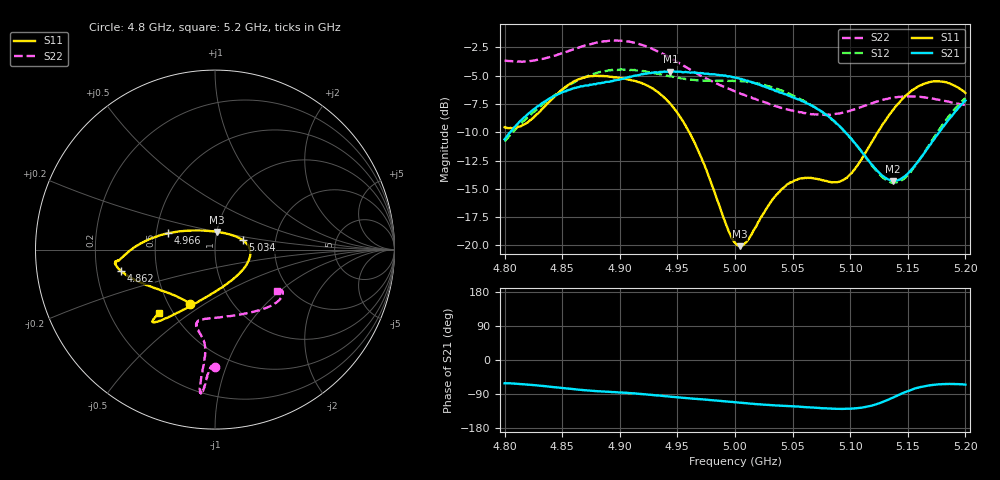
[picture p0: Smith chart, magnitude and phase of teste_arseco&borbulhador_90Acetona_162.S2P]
! Network Analyzer HP8722D
! Hewlett-Packard
! Data name: Linha & Wilkinson
! Saver's name: Rodrigo Anjos
! Comments: Teste da utilização de aquisição
! continua pelo VNA HP8722D
! Time and date: 17/4/2025 12:24
!  Frequency  S11  S21  S12  S22
# HZ  S  MA R 50
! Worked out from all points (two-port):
!   401 points, 4.8 GHz to 5.2 GHz, reference 50 ohm
!   highest |S21| = -4.63 dB at 4.944 GHz (marker M1); lowest = -14.3 dB at 5.137 GHz (marker M2)
!   |S21| within 3 dB of the highest: 4.83 GHz to 5.066 GHz (236.2 MHz wide, 4.77 % of centre); 5.195917 GHz to end of sweep
!   lowest |S11| = -20.1 dB at 5.004 GHz (marker M3), VSWR 1.22, Z = 50.2 + j9.98 ohm
!   |S11| at or under -10 dB: 4.96 GHz to 5.124 GHz (163.7 MHz wide, 3.25 % of centre)
!   |S22| runs from -8.5 to -1.9 dB; largest |S21 - S12| = 0.88
!   S11 on the Smith chart (normalised r, x): 4.8 GHz: 0.64, -0.44; 4.862 GHz: 0.31, -0.10; 4.966 GHz: 0.58, +0.11; 5.034 GHz: 1.35, +0.15; 5.2 GHz: 0.42, -0.38
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4.8e9  0.3329 -114.4  0.2942 -61.3  0.2878 -175.5  0.6565 -90.1
4.819e9  0.3475 -134.5  0.3754 -64.5  0.363 -174.2  0.6513 -91.7
4.862e9  0.5357 -167.0  0.4972 -77.7  0.5326 -177.5  0.7436 -94.1
4.867e9  0.5484 -168.9  0.5046 -79.3  0.5475 -178.4  0.7581 -94.3
4.902e9  0.5479 -173.5  0.545 -86.0  0.5995 174.5  0.803 -95.8
4.934e9  0.4721 -179.6  0.5833 -94.0  0.5739 171.4  0.7144 -96.2
4.944e9  0.4222 175.9  0.5868 -96.8  0.5581 171.6  0.6736 -95.9
4.966e9  0.2769 160.8  0.5792 -102.4  0.5378 173.5  0.5793 -95.3
4.993e9  0.1208 119.2  0.5595 -109.5  0.5345 175.8  0.4959 -98.2
5e9  0.1026 97.5  0.5517 -111.6  0.5334 175.8  0.4792 -99.6
5.004e9  0.09916 83.4  0.5456 -112.5  0.5325 175.7  0.4711 -100.5
5.012e9  0.1068 58.2  0.5317 -114.6  0.5256 175.6  0.4547 -102.3
5.034e9  0.1627 19.3  0.4857 -119.7  0.4973 174.5  0.4137 -103.9
5.049e9  0.19 4.3  0.4533 -122.0  0.4633 173.9  0.3949 -100.1
5.067e9  0.1982 -14.9  0.4147 -125.4  0.4159 173.2  0.3794 -90.8
5.086e9  0.1902 -45.1  0.355 -128.5  0.3523 173.5  0.3802 -76.3
5.097e9  0.1985 -67.8  0.311 -128.9  0.3114 174.5  0.3903 -67.3
5.134e9  0.378 -117.7  0.1948 -103.3  0.1907 -156.3  0.4469 -43.2
5.137e9  0.3959 -119.5  0.1926 -99.4  0.1897 -151.6  0.45 -41.8
5.15e9  0.4671 -125.3  0.2076 -82.2  0.2044 -131.7  0.4555 -37.0
5.17e9  0.5283 -130.0  0.2805 -66.3  0.2856 -112.6  0.4468 -32.3
5.2e9  0.4716 -131.6  0.4367 -64.9  0.4476 -106.9  0.4166 -33.8
